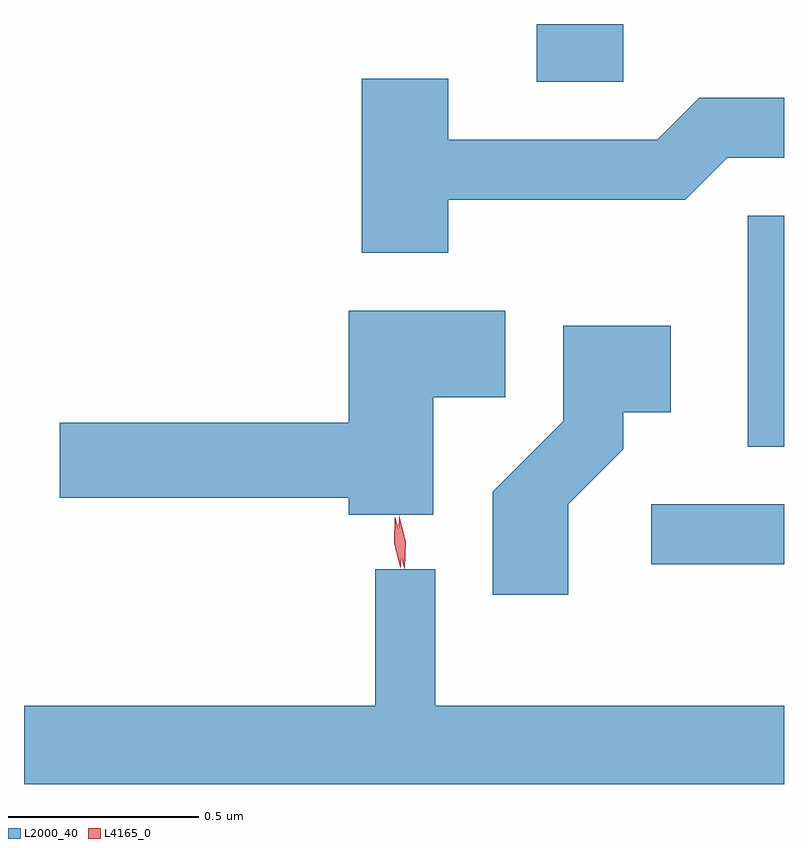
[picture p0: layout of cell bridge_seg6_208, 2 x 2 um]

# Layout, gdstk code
import gdstk
lib = gdstk.Library(unit=1e-6, precision=1e-09)
def R(c, l, rs):  # rectangles x0, y0, x1, y1
    for r in rs: c.add(gdstk.rectangle(r[:2], r[2:], *l))
def P(c, l, *ps):  # polygons
    for p in ps: c.add(gdstk.Polygon(p, *l))
L2000_40 = (2000, 40)
L4165_0 = (4165, 0)

bridge_seg6_208 = lib.new_cell('bridge_seg6_208')
R(bridge_seg6_208, L2000_40, [(1026.753,1592.856,1027.102,1593.014), (1027.006,1593.166,1027.102,1593.774), (1026.451,1594.126,1026.679,1594.278)])
P(bridge_seg6_208, L2000_40, [(1026.219,1593.816),(1026.842,1593.816),(1026.952,1593.926),(1027.102,1593.926),(1027.102,1594.084),(1026.879,1594.084),(1026.769,1593.974),(1026.219,1593.974),(1026.219,1594.134),(1025.991,1594.134),(1025.991,1593.676),(1026.219,1593.676)],
  [(1026.179,1593.296),(1026.369,1593.296),(1026.369,1593.524),(1025.956,1593.524),(1025.956,1593.229),(1025.196,1593.229),(1025.196,1593.031),(1025.956,1593.031),(1025.956,1592.986),(1026.179,1592.986)],
  [(1026.534,1593.014),(1026.679,1593.159),(1026.679,1593.256),(1026.804,1593.256),(1026.804,1593.484),(1026.521,1593.484),(1026.521,1593.232),(1026.336,1593.047),(1026.336,1592.776),(1026.534,1592.776)],
  [(1027.102,1592.484),(1026.184,1592.484),(1026.184,1592.843),(1026.026,1592.843),(1026.026,1592.484),(1025.102,1592.484),(1025.102,1592.278),(1027.102,1592.278)])
P(bridge_seg6_208, L4165_0, [(1026.103,1592.846),(1026.103,1592.846),(1026.087,1592.914),(1026.089,1592.983),(1026.09,1592.984),(1026.09,1592.983),(1026.106,1592.916),(1026.104,1592.846)],
  [(1026.092,1592.848),(1026.076,1592.913),(1026.078,1592.979),(1026.078,1592.98),(1026.079,1592.979),(1026.096,1592.915),(1026.093,1592.848),(1026.093,1592.848)])

lib.write_gds('bridge_seg6_208.gds')
